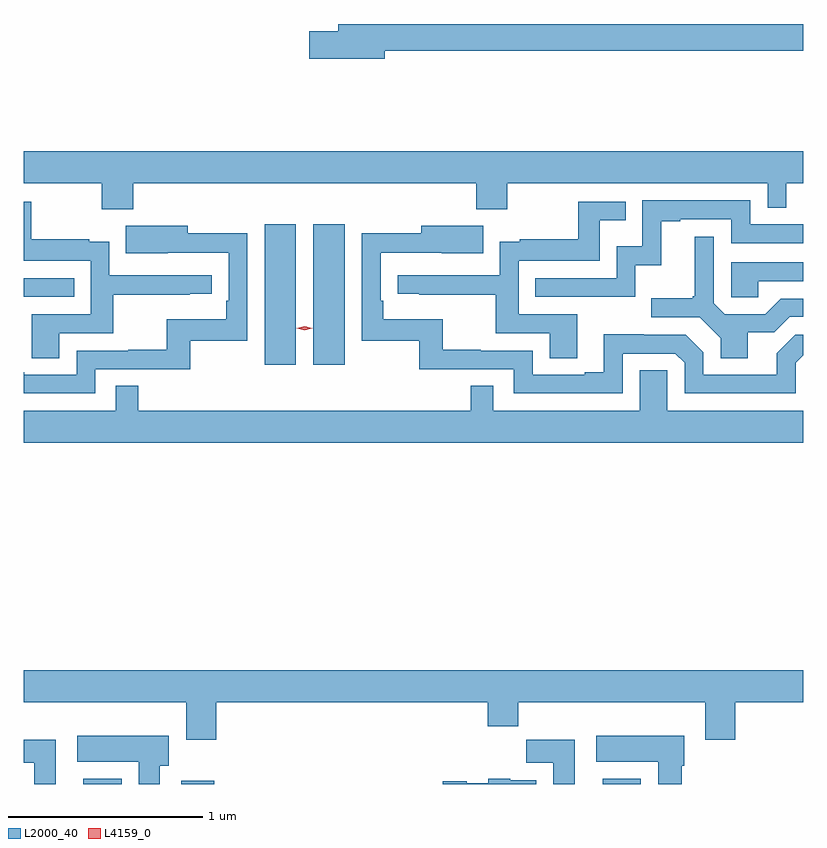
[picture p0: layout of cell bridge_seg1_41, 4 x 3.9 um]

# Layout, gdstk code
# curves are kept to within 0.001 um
import gdstk
lib = gdstk.Library(unit=1e-6, precision=1e-09)
def R(c, l, rs):  # rectangles x0, y0, x1, y1
    for r in rs: c.add(gdstk.rectangle(r[:2], r[2:], *l))
def P(c, l, *ps):  # polygons
    for p in ps: c.add(gdstk.Polygon(p, *l))
L2000_40 = (2000, 40)
L4159_0 = (4159, 0)

bridge_seg1_41 = lib.new_cell('bridge_seg1_41')
R(bridge_seg1_41, L2000_40, [(938.735,544.652,938.931,544.678), (939.236,544.652,939.407,544.669), (941.399,544.652,941.595,544.678), (939.665,546.804,939.826,547.525), (939.914,546.804,940.075,547.525), (938.429,547.152,938.687,547.248)])
P(bridge_seg1_41, L2000_40, [(940.282,548.416),(942.429,548.416),(942.429,548.552),(940.043,548.552),(940.043,548.516),(939.894,548.516),(939.894,548.374),(940.282,548.374)],
  [(938.99,547.736),(940.751,547.736),(940.751,547.601),(940.911,547.601),(940.911,547.736),(942.246,547.736),(942.246,547.609),(942.342,547.609),(942.342,547.736),(942.429,547.736),(942.429,547.9),(938.429,547.9),(938.429,547.736),(938.83,547.736),(938.83,547.601),(938.99,547.601)],
  [(941.568,547.313),(941.701,547.313),(941.701,547.539),(941.797,547.539),(941.797,547.551),(942.06,547.551),(942.06,547.428),(942.429,547.428),(942.429,547.524),(942.156,547.524),(942.156,547.647),(941.604,547.647),(941.604,547.411),(941.472,547.411),(941.472,547.248),(941.053,547.248),(941.053,547.152),(941.568,547.152)],
  [(938.611,546.966),(938.888,546.966),(938.888,547.162),(939.281,547.162),(939.281,547.167),(939.394,547.167),(939.394,547.263),(938.868,547.263),(938.868,547.435),(938.765,547.435),(938.765,547.447),(938.467,547.447),(938.467,547.641),(938.429,547.641),(938.429,547.338),(938.772,547.338),(938.772,547.062),(938.471,547.062),(938.471,546.838),(938.611,546.838)],
  [(941.269,547.062),(940.968,547.062),(940.968,547.338),(941.385,547.338),(941.385,547.544),(941.519,547.544),(941.519,547.641),(941.274,547.641),(941.274,547.447),(940.975,547.447),(940.975,547.435),(940.872,547.435),(940.872,547.263),(940.347,547.263),(940.347,547.167),(940.459,547.167),(940.459,547.162),(940.852,547.162),(940.852,546.966),(941.129,546.966),(941.129,546.838),(941.269,546.838)],
  [(938.796,546.78),(939.283,546.78),(939.283,546.927),(939.576,546.927),(939.576,547.478),(939.271,547.478),(939.271,547.516),(938.953,547.516),(938.953,547.376),(939.167,547.376),(939.167,547.377),(939.48,547.377),(939.48,547.132),(939.467,547.132),(939.467,547.036),(939.162,547.036),(939.162,546.881),(938.965,546.881),(938.965,546.876),(938.7,546.876),(938.7,546.753),(938.431,546.753),(938.431,546.766),(938.429,546.766),(938.429,546.657),(938.796,546.657)],
  [(941.502,546.861),(941.772,546.861),(941.82,546.813),(941.82,546.657),(942.39,546.657),(942.39,546.813),(942.429,546.852),(942.429,546.957),(942.387,546.957),(942.293,546.863),(942.293,546.753),(941.916,546.753),(941.916,546.867),(941.826,546.957),(941.61,546.957),(941.61,546.959),(941.405,546.959),(941.405,546.766),(941.309,546.766),(941.309,546.753),(941.04,546.753),(941.04,546.876),(940.775,546.876),(940.775,546.881),(940.579,546.881),(940.579,547.036),(940.274,547.036),(940.274,547.132),(940.26,547.132),(940.26,547.377),(940.787,547.376),(940.787,547.516),(940.469,547.516),(940.469,547.478),(940.164,547.478),(940.164,546.927),(940.458,546.927),(940.458,546.78),(940.944,546.78),(940.944,546.657),(941.502,546.657)],
  [(942.145,546.97),(942.28,546.97),(942.36,547.05),(942.429,547.05),(942.429,547.143),(942.314,547.143),(942.233,547.062),(942.027,547.062),(941.97,547.119),(941.97,547.459),(941.873,547.459),(941.873,547.156),(941.862,547.156),(941.862,547.144),(941.649,547.144),(941.649,547.047),(941.898,547.047),(942.005,546.94),(942.005,546.838),(942.145,546.838)],
  [(942.197,547.233),(942.429,547.233),(942.429,547.329),(942.06,547.329),(942.06,547.149),(942.197,547.149)],
  [(942.429,546.568),(941.73,546.568),(941.73,546.776),(941.591,546.776),(941.591,546.568),(940.839,546.568),(940.839,546.695),(940.723,546.695),(940.723,546.568),(939.017,546.568),(939.017,546.695),(938.901,546.695),(938.901,546.568),(938.429,546.568),(938.429,546.404),(942.429,546.404)],
  [(939.416,545.072),(940.811,545.072),(940.811,544.948),(940.967,544.948),(940.967,545.072),(941.927,545.072),(941.927,544.878),(942.08,544.878),(942.08,545.072),(942.429,545.072),(942.429,545.236),(938.429,545.236),(938.429,545.072),(939.263,545.072),(939.263,544.878),(939.416,544.878)],
  [(939.127,544.746),(939.172,544.746),(939.172,544.9),(938.703,544.9),(938.703,544.766),(939.02,544.766),(939.02,544.652),(939.127,544.652)],
  [(941.806,544.746),(941.818,544.746),(941.818,544.9),(941.367,544.9),(941.367,544.766),(941.684,544.766),(941.684,544.652),(941.806,544.652)],
  [(941.257,544.879),(941.008,544.879),(941.008,544.76),(941.147,544.76),(941.147,544.652),(941.257,544.652)],
  [(938.593,544.879),(938.429,544.879),(938.429,544.76),(938.483,544.76),(938.483,544.652),(938.593,544.652)],
  [(941.059,544.672),(940.926,544.672),(940.926,544.678),(940.812,544.678),(940.812,544.657),(940.701,544.657),(940.701,544.665),(940.578,544.665),(940.578,544.652),(941.059,544.652)])
P(bridge_seg1_41, L4159_0, [(939.87,546.981),(939.83,546.991),(939.83,546.991),(939.83,546.991),(939.87,547.001),(939.91,546.991),(939.91,546.991),(939.91,546.991)])

lib.write_gds('bridge_seg1_41.gds')
